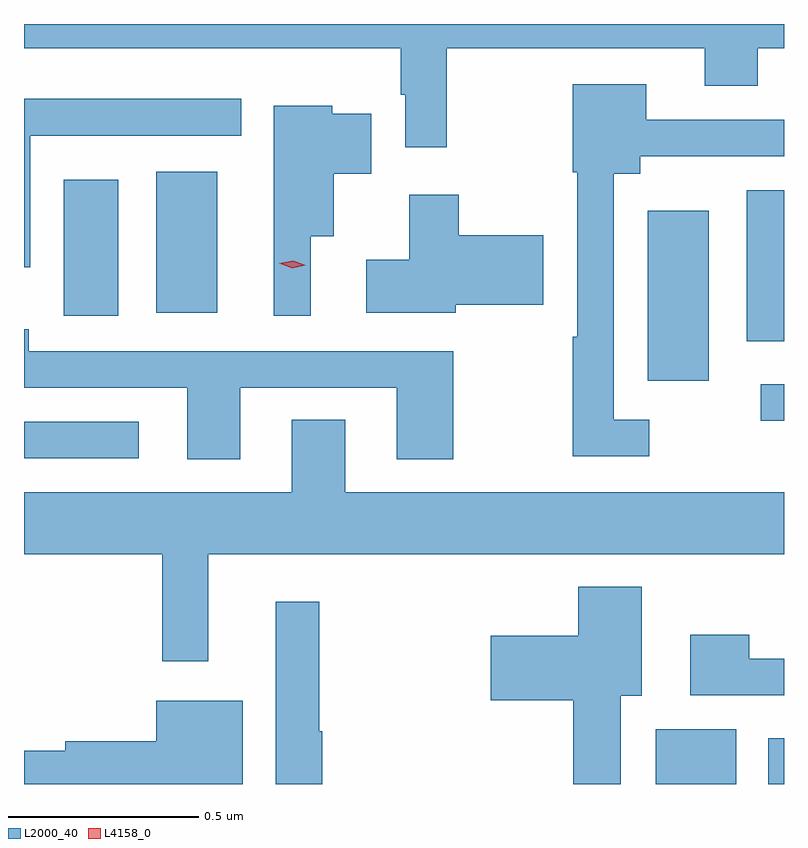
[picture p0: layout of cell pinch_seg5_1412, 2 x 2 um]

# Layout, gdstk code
import gdstk
lib = gdstk.Library(unit=1e-6, precision=1e-09)
def R(c, l, rs):  # rectangles x0, y0, x1, y1
    for r in rs: c.add(gdstk.rectangle(r[:2], r[2:], *l))
def P(c, l, *ps):  # polygons
    for p in ps: c.add(gdstk.Polygon(p, *l))
L2000_40 = (2000, 40)
L4158_0 = (4158, 0)

pinch_seg5_1412 = lib.new_cell('pinch_seg5_1412')
R(pinch_seg5_1412, L2000_40, [(203.972,909.436,204.184,909.58), (204.269,909.436,204.31,909.556), (202.31,910.293,202.612,910.389), (204.249,910.392,204.31,910.488), (203.951,910.497,204.112,910.945), (204.212,910.601,204.31,910.999), (202.415,910.668,202.558,911.026), (202.658,910.676,202.819,911.047)])
P(pinch_seg5_1412, L2000_40, [(203.422,911.372),(204.101,911.372),(204.101,911.273),(204.241,911.273),(204.241,911.372),(204.31,911.372),(204.31,911.436),(202.31,911.436),(202.31,911.372),(203.301,911.372),(203.301,911.25),(203.313,911.25),(203.313,911.112),(203.422,911.112)],
  [(203.956,910.395),(203.862,910.395),(203.862,911.042),(203.932,911.042),(203.932,911.088),(204.31,911.088),(204.31,911.184),(203.947,911.184),(203.947,911.278),(203.754,911.278),(203.754,911.046),(203.766,911.046),(203.766,910.613),(203.754,910.613),(203.754,910.299),(203.956,910.299)],
  [(202.326,911.142),(202.882,911.142),(202.882,911.239),(202.31,911.239),(202.31,910.796),(202.326,910.796)],
  [(203.065,910.877),(203.125,910.877),(203.125,911.042),(203.224,911.042),(203.224,911.2),(203.121,911.2),(203.121,911.221),(202.967,911.221),(202.967,910.668),(203.065,910.668)],
  [(203.446,910.697),(203.677,910.697),(203.677,910.88),(203.454,910.88),(203.454,910.987),(203.324,910.987),(203.324,910.816),(203.211,910.816),(203.211,910.676),(203.446,910.676)],
  [(202.879,910.479),(203.291,910.479),(203.291,910.29),(203.439,910.29),(203.439,910.575),(202.322,910.575),(202.322,910.633),(202.31,910.633),(202.31,910.479),(202.739,910.479),(202.739,910.29),(202.879,910.29)],
  [(202.795,910.04),(204.31,910.04),(204.31,910.204),(203.155,910.204),(203.155,910.394),(203.015,910.394),(203.015,910.204),(202.31,910.204),(202.31,910.04),(202.674,910.04),(202.674,909.759),(202.795,909.759)],
  [(203.881,909.668),(203.935,909.668),(203.935,909.955),(203.768,909.955),(203.768,909.826),(203.538,909.826),(203.538,909.656),(203.756,909.656),(203.756,909.436),(203.881,909.436)],
  [(203.095,909.575),(203.087,909.575),(203.087,909.916),(202.973,909.916),(202.973,909.436),(203.095,909.436)],
  [(204.31,909.765),(204.219,909.765),(204.219,909.829),(204.063,909.829),(204.063,909.669),(204.31,909.669)],
  [(202.885,909.655),(202.658,909.655),(202.658,909.549),(202.418,909.549),(202.418,909.524),(202.31,909.524),(202.31,909.436),(202.885,909.436)])
P(pinch_seg5_1412, L4158_0, [(203.016,910.793),(202.982,910.806),(202.982,910.806),(202.982,910.806),(203.018,910.813),(203.052,910.801),(203.052,910.801),(203.052,910.801)])

lib.write_gds('pinch_seg5_1412.gds')
